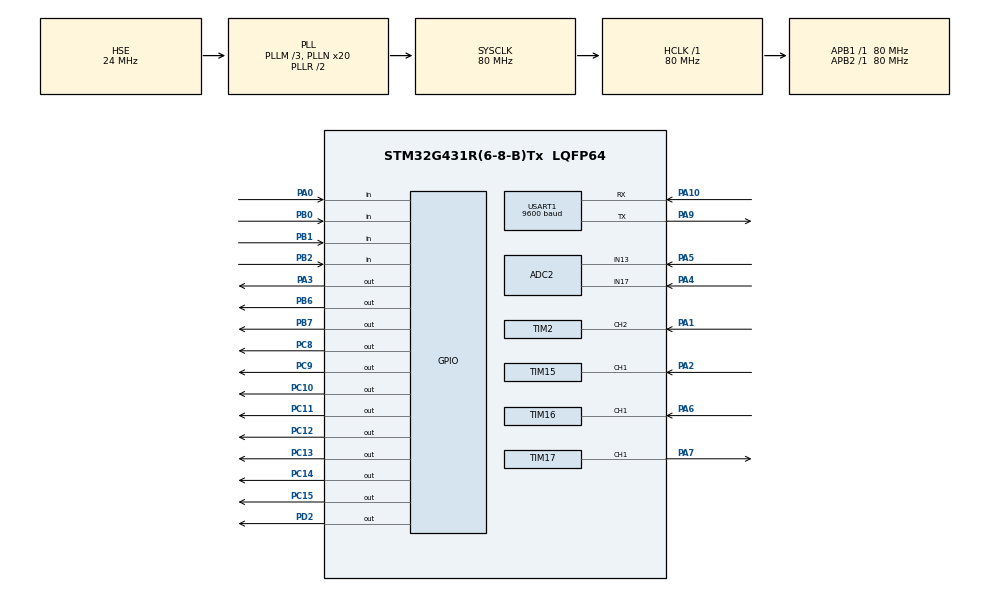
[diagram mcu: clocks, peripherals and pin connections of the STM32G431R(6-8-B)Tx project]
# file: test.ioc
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ADC2.Channel-0\#ChannelRegularConversion=ADC_CHANNEL_13
ADC2.Channel-3\#ChannelRegularConversion=ADC_CHANNEL_17
ADC2.NbrOfConversion=2
ADC2.NbrOfConversionFlag=1
ADC2.OffsetNumber-0\#ChannelRegularConversion=ADC_OFFSET_NONE
ADC2.OffsetNumber-3\#ChannelRegularConversion=ADC_OFFSET_NONE
ADC2.Rank-0\#ChannelRegularConversion=1
ADC2.Rank-3\#ChannelRegularConversion=2
ADC2.SamplingTime-0\#ChannelRegularConversion=ADC_SAMPLETIME_640CYCLES_5
ADC2.SamplingTime-3\#ChannelRegularConversion=ADC_SAMPLETIME_640CYCLES_5
Mcu.Family=STM32G4
Mcu.Name=STM32G431R(6-8-B)Tx
Mcu.Package=LQFP64
NVIC.PriorityGroup=NVIC_PRIORITYGROUP_4
NVIC.TIM1_BRK_TIM15_IRQn=true\:0\:0\:false\:false\:true\:true\:true
NVIC.TIM1_TRG_COM_TIM17_IRQn=true\:0\:0\:false\:false\:true\:true\:true
NVIC.TIM1_UP_TIM16_IRQn=true\:0\:0\:false\:false\:true\:true\:true
NVIC.TIM2_IRQn=true\:0\:0\:false\:false\:true\:true\:true
NVIC.TIM3_IRQn=true\:0\:0\:false\:false\:true\:true\:true
NVIC.TIM4_IRQn=true\:0\:0\:false\:false\:true\:true\:true
NVIC.USART1_IRQn=true\:0\:0\:false\:false\:true\:true\:true
PA0.GPIO_PuPd=GPIO_PULLUP
PA0.Signal=GPIO_Input
PA1.Signal=S_TIM2_CH2
PA10.Mode=Asynchronous
PA10.Signal=USART1_RX
PA13.Mode=Serial_Wire
PA13.Signal=SYS_JTMS-SWDIO
PA14.Mode=Serial_Wire
PA14.Signal=SYS_JTCK-SWCLK
PA2.Signal=S_TIM15_CH1
PA3.Signal=GPIO_Output
PA4.Mode=IN17-Single-Ended
PA4.Signal=ADC2_IN17
PA5.Mode=IN13-Single-Ended
PA5.Signal=ADC2_IN13
PA6.Signal=S_TIM16_CH1
PA7.Signal=S_TIM17_CH1
PA9.Mode=Asynchronous
PA9.Signal=USART1_TX
PB0.GPIO_PuPd=GPIO_PULLUP
PB0.Signal=GPIO_Input
PB1.GPIO_PuPd=GPIO_PULLUP
PB1.Signal=GPIO_Input
PB2.GPIO_PuPd=GPIO_PULLUP
PB2.Signal=GPIO_Input
PB6.Signal=GPIO_Output
PB7.GPIO_Speed=GPIO_SPEED_FREQ_HIGH
PB7.Signal=GPIO_Output
PC10.PinState=GPIO_PIN_SET
PC10.Signal=GPIO_Output
PC11.PinState=GPIO_PIN_SET
PC11.Signal=GPIO_Output
PC12.PinState=GPIO_PIN_SET
PC12.Signal=GPIO_Output
PC13.PinState=GPIO_PIN_SET
PC13.Signal=GPIO_Output
PC14-OSC32_IN.PinState=GPIO_PIN_SET
PC14-OSC32_IN.Signal=GPIO_Output
PC15-OSC32_OUT.PinState=GPIO_PIN_SET
PC15-OSC32_OUT.Signal=GPIO_Output
PC8.PinState=GPIO_PIN_SET
PC8.Signal=GPIO_Output
PC9.PinState=GPIO_PIN_SET
PC9.Signal=GPIO_Output
PD2.Signal=GPIO_Output
PF0-OSC_IN.Mode=HSE-External-Oscillator
PF0-OSC_IN.Signal=RCC_OSC_IN
PF1-OSC_OUT.Mode=HSE-External-Oscillator
PF1-OSC_OUT.Signal=RCC_OSC_OUT
ProjectManager.HeapSize=0x200
ProjectManager.StackSize=0x400
ProjectManager.TargetToolchain=MDK-ARM V5.32
RCC.ADC12Freq_Value=80000000
RCC.AHBFreq_Value=80000000
RCC.APB1Freq_Value=80000000
RCC.APB1TimFreq_Value=80000000
RCC.APB2Freq_Value=80000000
RCC.APB2TimFreq_Value=80000000
RCC.CortexFreq_Value=80000000
RCC.EXTERNAL_CLOCK_VALUE=12288000
RCC.HCLKFreq_Value=80000000
RCC.HSE_VALUE=24000000
RCC.HSI48_VALUE=48000000
RCC.HSI_VALUE=16000000
RCC.LSE_VALUE=32768
RCC.PLLM=RCC_PLLM_DIV3
RCC.PLLN=20
RCC.PLLSourceVirtual=RCC_PLLSOURCE_HSE
RCC.RTCClockSelection=RCC_RTCCLKSOURCE_HSE_DIV32
RCC.SYSCLKFreq_VALUE=80000000
RCC.SYSCLKSource=RCC_SYSCLKSOURCE_PLLCLK
RCC.USBFreq_Value=80000000
RCC.VCOOutputFreq_Value=160000000
RTC.AsynchPrediv=125
RTC.Hours=23
RTC.Minutes=59
RTC.Month=RTC_MONTH_MARCH
RTC.Seconds=55
RTC.SynchPrediv=6000
RTC.WeekDay=RTC_WEEKDAY_FRIDAY
RTC.Year=24
SH.S_TIM15_CH1.0=TIM15_CH1,Input_Capture1_from_TI1
SH.S_TIM16_CH1.0=TIM16_CH1,Input_Capture1_from_TI1
SH.S_TIM17_CH1.0=TIM17_CH1,PWM Generation1 CH1
SH.S_TIM2_CH2.0=TIM2_CH2,Input_Capture2_from_TI2
TIM15.Channel-Input_Capture1_from_TI1=TIM_CHANNEL_1
TIM15.Prescaler=80-1
TIM16.Channel=TIM_CHANNEL_1
TIM16.PeriodNoDither=65535
TIM16.Prescaler=80-1
TIM17.Channel=TIM_CHANNEL_1
TIM17.PeriodNoDither=100
TIM17.Prescaler=800-1
TIM17.PulseNoDither_1=50
TIM2.Channel-Input_Capture2_from_TI2=TIM_CHANNEL_2
TIM2.CounterMode=TIM_COUNTERMODE_UP
TIM2.PeriodNoDither=65535
TIM2.Prescaler=80-1
TIM3.Prescaler=80-1
TIM4.PeriodNoDither=10000-1
TIM4.Prescaler=80-1
USART1.BaudRate=9600
USART1.VirtualMode-Asynchronous=VM_ASYNC
VP_RTC_VS_RTC_Activate.Mode=RTC_Enabled
VP_RTC_VS_RTC_Calendar.Mode=RTC_Calendar
VP_SYS_VS_DBSignals.Mode=DisableDeadBatterySignals
VP_TIM15_VS_ClockSourceINT.Mode=Internal
VP_TIM16_VS_ClockSourceINT.Mode=Enable_Timer
VP_TIM17_VS_ClockSourceINT.Mode=Enable_Timer
VP_TIM2_VS_ClockSourceINT.Mode=Internal
VP_TIM3_VS_ClockSourceINT.Mode=Internal
VP_TIM4_VS_ClockSourceINT.Mode=Internal
board=custom

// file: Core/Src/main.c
/* USER CODE BEGIN Header */
/**
 ******************************************************************************
 * @file           : main.c
 * @brief          : Main program body
 ******************************************************************************
 * @attention
 *
 * Copyright (c) 2024 STMicroelectronics.
 * All rights reserved.
 *
 * This software is licensed under terms that can be found in the LICENSE file
 * in the root directory of this software component.
 * If no LICENSE file comes with this software, it is provided AS-IS.
 *
 ******************************************************************************
 */
/* USER CODE END Header */
#include "main.h"
#include "adc.h"
#include "rtc.h"
#include "tim.h"
#include "usart.h"
#include "gpio.h"

/* USER CODE BEGIN Includes */
#include "LED.h"
#include "lcd.h"
#include "stdio.h"
#include "string.h"
#include "Key.h"
#include "interrupt.h"
#include "badc.h"
#include "i2c - hal.h"
#include "PWM.h"
#include "seg_LED.h"
#include "adc_key.h"
#include "ds18b20.h"
#include "dht11.h"
/* USER CODE END Includes */

/* USER CODE BEGIN PTD */

/*执行速度控制变量*/
__IO uint32_t uwTick_LED_Speed_Ctrl;
__IO uint32_t uwTick_KEY_Speed_Ctrl;
__IO uint32_t uwTick_LCD_Speed_Ctrl;
__IO uint32_t uwTick_RTC_Speed_Ctrl;
__IO uint32_t uwTick_Time_Count;

/* USER CODE END PTD */

/* USER CODE BEGIN PD */
/*全局变量区*/
uint8_t ucLED;

uint8_t LCD_String_Disp[21]; // 显示屏显示数据存储数组
uint8_t LCD_Disp_Change = 0; // 显示屏切换界面变量
uint8_t LCD_Line_Change = 0; // 显示屏选择行 1-第一行 2-第二行 3-第三行 默认为0不选择 无高亮文本

uint8_t EEPROM_Save[4] = {1, 1}; // EEPROM芯片中存取的数据
uint8_t EEPROM_Disp[4] = {1, 1}; // EEPROM数据显示数组

ADC2_ChannelValues adcValues; // ADC多通道扫描数值结构体

float PA4_AD_Value, PA5_AD_Value;

uint8_t X_value = 1, Y_value = 1;

uint8_t Mode_flag = 0; // 0-倍频模式  1-分频模式

uint8_t Record_Channel_flag = 0; // 0-PA4 1-PA5

uint8_t LCD_Disp_Mode;

typedef struct
{
  uint8_t Record_num; // 记录次数
  float AD_value_max; // 电压最大值
  float AD_value_min; // 电压最小值
  float AD_value_avg; // 电压平均值
  float AD_value_sum; // 记录电压值总和
} Record_Value;

uint8_t first_flag = 0;

Record_Value PA4, PA5;

// 用于存储时间和日期的结构体
RTC_TimeTypeDef RTC_Time = {0};
RTC_DateTypeDef RTC_Date = {0};
char dateTimeBuffer[50]; // 存储日期时间字符串

/*拓展变量区*/
extern uint8_t single_key_flag[4]; // 按键单击
extern uint8_t double_key_flag[4]; // 按键双击
extern uint8_t long_key_flag[4];   // 按键长按
// extern uint16_t frq1, frq2;        // 输入捕获测量的频率
// extern float duty1, duty2;         // 占空比
extern uint32_t RP[4];

extern char rxdata[30]; // 串口接收数组
extern uint8_t rxdat;
extern unsigned char rx_pointer;

/* USER CODE END PD */

/* USER CODE BEGIN PM */

/*子函数声明区*/

void LCD_Proc(void);
void KEY_Proc(void);
void LED_Proc(void);
void RTC_Proc(void);
void ADC_Proc(void);
void USART_Proc(void);

/* USER CODE END PM */

void SystemClock_Config(void);

int main(void)
{

  /* MCU Configuration--------------------------------------------------------*/

  /* Reset of all peripherals, Initializes the Flash interface and the Systick. */
  HAL_Init();

  /* Configure the system clock */
  SystemClock_Config();

  /* Initialize all configured peripherals */
  MX_GPIO_Init();
  MX_TIM2_Init();
  MX_TIM16_Init();
  MX_TIM17_Init();
  MX_TIM3_Init();
  MX_TIM4_Init();
  MX_ADC2_Init();
  MX_USART1_UART_Init();
  MX_RTC_Init();
  MX_TIM15_Init();
  /* USER CODE BEGIN 2 */

  /*LED灯初始化*/
  LED_Init();

  /*LCD显示屏初始化*/
  LCD_Init();
  LCD_Clear(Black);
  LCD_SetBackColor(Black);
  LCD_SetTextColor(White);

  /*定时器4基本中断开启,按键中断定时器 时间到就进中断检测按键是否按下*/
  HAL_TIM_Base_Start_IT(&htim4);

  // /*定时器16通道1 PWM生成,PA6 引脚PWM生成定时器*/
  // HAL_TIM_PWM_Start(&htim16, TIM_CHANNEL_1);

  /*定时器17通道1 PWM生成,PA7 引脚PWM生成定时器*/
  HAL_TIM_PWM_Start(&htim17, TIM_CHANNEL_1);

  /*定时器16通道1 输入捕获中断开启,PA6引脚*/
  // HAL_TIM_IC_Start_IT(&htim16, TIM_CHANNEL_1);

  /*定时器17通道1 输入捕获中断开启,PA7引脚*/
  // HAL_TIM_IC_Start_IT(&htim17, TIM_CHANNEL_1);

  /*定时器15通道1 输入捕获中断开启,PA2引脚*/
  // HAL_TIM_IC_Start_IT(&htim15, TIM_CHANNEL_1);

  // __HAL_TIM_SET_COMPARE(&htim16, TIM_CHANNEL_1, PA6_duty);
  // __HAL_TIM_SET_COMPARE(&htim17, TIM_CHANNEL_1, PA7_duty);

  /*定时器2通道1 输入捕获中断开启,PA15引脚*/
  HAL_TIM_IC_Start_IT(&htim2, TIM_CHANNEL_1);
  /*定时器2通道2 输入捕获中断开启,PA15引脚*/
  HAL_TIM_IC_Start_IT(&htim2, TIM_CHANNEL_2);

  /*定时器3通道1 输入捕获中断开启,PB4引脚*/
  // HAL_TIM_IC_Start_IT(&htim3, TIM_CHANNEL_1);
  /*定时器3通道2 输入捕获中断开启,PB4引脚*/
  // HAL_TIM_IC_Start_IT(&htim3, TIM_CHANNEL_2);

  // HAL_ADCEx_Calibration_Start(&hadc1, ADC_SINGLE_ENDED); // 校准ADC1，PB12引脚
  HAL_ADCEx_Calibration_Start(&hadc2, ADC_SINGLE_ENDED); // 校准ADC2，PB15引脚

  /********************************串口接收中断开启***********************************************************/
  HAL_UART_Receive_IT(&huart1, &rxdat, 1);

  /********************************EEPROM存储读取***********************************************************/
  I2C_24c02_Read((uint8_t *)&EEPROM_Save[3], 0x37, 1); // 读取一次判断是否第一次上电

  if (EEPROM_Save[3] != 2) // 初次上电
  {
    EEPROM_Save[3] = 2; // 将该位的值改为2写入eeprom中 用于判断非第一次上电 确保再次上电读取eeprom中设置的阈值 以免第一次直接赋值0
    I2C_24c02_Write((uint8_t *)&EEPROM_Save[3], 0x37, 1);
    HAL_Delay(10);
    I2C_24c02_Write((uint8_t *)EEPROM_Save, 0x00, 2); // 将阈值写入EEPROM中
  }
  else // 再次上电读取eeprom中设置的阈值 更新显示的阈
  {
    I2C_24c02_Read(EEPROM_Save, 0x00, 2); // 读取EEPROM中的值
    HAL_Delay(10);
    Y_value = EEPROM_Save[0]; // 电压参数
    X_value = EEPROM_Save[1]; // 频率参数
  }
  /********************************EEPROM存储读取***********************************************************/

  PWM_Set_Frequency(&htim17, TIM_CHANNEL_1, RP[2] * X_value);

  /* USER CODE END 2 */

  /* Infinite loop */
  while (1)
  {

    /* USER CODE BEGIN 3 */
    /*代码写在该行下面 否则会被初始化*/

    LCD_Proc();
    KEY_Proc();
    LED_Proc();
    RTC_Proc();
    ADC_Proc();

    if (rx_pointer != 0)
    {
      int temp = rx_pointer;
      HAL_Delay(1);
      if (temp == rx_pointer)
        USART_Proc(); // 完成接收
    }
  }
  /* USER CODE END 3 */
}

void SystemClock_Config(void)
{
  RCC_OscInitTypeDef RCC_OscInitStruct = {0};
  RCC_ClkInitTypeDef RCC_ClkInitStruct = {0};

  /** Configure the main internal regulator output voltage
   */
  HAL_PWREx_ControlVoltageScaling(PWR_REGULATOR_VOLTAGE_SCALE1);
  /** Initializes the RCC Oscillators according to the specified parameters
   * in the RCC_OscInitTypeDef structure.
   */
  RCC_OscInitStruct.OscillatorType = RCC_OSCILLATORTYPE_HSE;
  RCC_OscInitStruct.HSEState = RCC_HSE_ON;
  RCC_OscInitStruct.PLL.PLLState = RCC_PLL_ON;
  RCC_OscInitStruct.PLL.PLLSource = RCC_PLLSOURCE_HSE;
  RCC_OscInitStruct.PLL.PLLM = RCC_PLLM_DIV3;
  RCC_OscInitStruct.PLL.PLLN = 20;
  RCC_OscInitStruct.PLL.PLLP = RCC_PLLP_DIV2;
  RCC_OscInitStruct.PLL.PLLQ = RCC_PLLQ_DIV2;
  RCC_OscInitStruct.PLL.PLLR = RCC_PLLR_DIV2;
  if (HAL_RCC_OscConfig(&RCC_OscInitStruct) != HAL_OK)
  {
    Error_Handler();
  }
  /** Initializes the CPU, AHB and APB buses clocks
   */
  RCC_ClkInitStruct.ClockType = RCC_CLOCKTYPE_HCLK | RCC_CLOCKTYPE_SYSCLK | RCC_CLOCKTYPE_PCLK1 | RCC_CLOCKTYPE_PCLK2;
  RCC_ClkInitStruct.SYSCLKSource = RCC_SYSCLKSOURCE_PLLCLK;
  RCC_ClkInitStruct.AHBCLKDivider = RCC_SYSCLK_DIV1;
  RCC_ClkInitStruct.APB1CLKDivider = RCC_HCLK_DIV1;
  RCC_ClkInitStruct.APB2CLKDivider = RCC_HCLK_DIV1;

  if (HAL_RCC_ClockConfig(&RCC_ClkInitStruct, FLASH_LATENCY_2) != HAL_OK)
  {
    Error_Handler();
  }
}

/* USER CODE BEGIN 4 */

/*****************************************LED灯控制函数***************************************************/
void LED_Proc(void)
{
  if ((uwTick - uwTick_LED_Speed_Ctrl) < 100)
    return;
  uwTick_LED_Speed_Ctrl = uwTick; // 200ms执行一次

  // ucLED ^= 0x01;  //异或运算 相同为0，不同为1

  if (!Mode_flag)
    ucLED |= 0x01;
  else
    ucLED &= 0x0E;

  if (Mode_flag)
    ucLED |= 0x02;
  else
    ucLED &= 0x0D;

  if (PA4_AD_Value > PA5_AD_Value * Y_value)
    ucLED ^= 0x04;
  else
    ucLED &= 0x0B;

  LED_Disp(ucLED);
}

/*****************************************显示屏控制函数***************************************************/
void LCD_Proc(void)
{
  if ((uwTick - uwTick_LCD_Speed_Ctrl) < 100)
    return;
  uwTick_LCD_Speed_Ctrl = uwTick;

  if (Mode_flag == 0) // 倍频
  {
    PWM_Set_Frequency(&htim17, TIM_CHANNEL_1, RP[2] * X_value);
    printf("%d\r\n", RP[2]);
  }
  else
  {
    PWM_Set_Frequency(&htim17, TIM_CHANNEL_1, RP[2] / X_value);
  }

  if (LCD_Disp_Change == 0) // 数据界面
  {
    LCD_SetTextColor(White); // 初始文本颜色 防止受上一个对文本颜色的改变影响

    memset(LCD_String_Disp, 0, sizeof(LCD_String_Disp));
    sprintf((char *)LCD_String_Disp, "DATA      ");
    LCD_DisplayStringAtLineColumn(Line2, Col9, LCD_String_Disp);

    memset(LCD_String_Disp, 0, sizeof(LCD_String_Disp));
    sprintf((char *)LCD_String_Disp, "PA4=%.2f  ", PA4_AD_Value);
    LCD_DisplayStringAtLineColumn(Line4, Col6, LCD_String_Disp);

    memset(LCD_String_Disp, 0, sizeof(LCD_String_Disp));
    sprintf((char *)LCD_String_Disp, "PA5=%.2f  ", PA5_AD_Value);
    LCD_DisplayStringAtLineColumn(Line5, Col6, LCD_String_Disp);

    memset(LCD_String_Disp, 0, sizeof(LCD_String_Disp));
    sprintf((char *)LCD_String_Disp, "PA1=%d    ", RP[2]);
    LCD_DisplayStringAtLineColumn(Line6, Col6, LCD_String_Disp);
  }
  else if (LCD_Disp_Change == 1) // 参数界面
  {
    LCD_SetTextColor(White); // 初始文本颜色 防止受上一个对文本颜色的改变影响

    memset(LCD_String_Disp, 0, sizeof(LCD_String_Disp));
    sprintf((char *)LCD_String_Disp, "PARA      ");
    LCD_DisplayStringAtLineColumn(Line2, Col9, LCD_String_Disp);

    memset(LCD_String_Disp, 0, sizeof(LCD_String_Disp));
    sprintf((char *)LCD_String_Disp, "X=%d  ", X_value);
    LCD_DisplayStringAtLineColumn(Line4, Col6, LCD_String_Disp);

    memset(LCD_String_Disp, 0, sizeof(LCD_String_Disp));
    sprintf((char *)LCD_String_Disp, "Y=%d  ", Y_value);
    LCD_DisplayStringAtLineColumn(Line5, Col6, LCD_String_Disp);
  }
  else // 记录界面
  {
    LCD_SetTextColor(White); // 初始文本颜色 防止受上一个对文本颜色的改变影响

    memset(LCD_String_Disp, 0, sizeof(LCD_String_Disp));
    sprintf((char *)LCD_String_Disp, "REC-PA%c  ", Record_Channel_flag ? '5' : '4');
    LCD_DisplayStringAtLineColumn(Line2, Col9, LCD_String_Disp);

    if (Record_Channel_flag == 0) // PA4 记录
    {
      memset(LCD_String_Disp, 0, sizeof(LCD_String_Disp));
      sprintf((char *)LCD_String_Disp, "N=%d    ", PA4.Record_num);
      LCD_DisplayStringAtLineColumn(Line4, Col6, LCD_String_Disp);

      memset(LCD_String_Disp, 0, sizeof(LCD_String_Disp));
      sprintf((char *)LCD_String_Disp, "A=%.2f  ", PA4.AD_value_max);
      LCD_DisplayStringAtLineColumn(Line5, Col6, LCD_String_Disp);

      memset(LCD_String_Disp, 0, sizeof(LCD_String_Disp));
      sprintf((char *)LCD_String_Disp, "T=%.2f  ", PA4.AD_value_min);
      LCD_DisplayStringAtLineColumn(Line6, Col6, LCD_String_Disp);

      memset(LCD_String_Disp, 0, sizeof(LCD_String_Disp));
      sprintf((char *)LCD_String_Disp, "H=%.2f  ", PA4.AD_value_avg);
      LCD_DisplayStringAtLineColumn(Line7, Col6, LCD_String_Disp);
    }
    else
    {
      memset(LCD_String_Disp, 0, sizeof(LCD_String_Disp));
      sprintf((char *)LCD_String_Disp, "N=%d    ", PA5.Record_num);
      LCD_DisplayStringAtLineColumn(Line4, Col6, LCD_String_Disp);

      memset(LCD_String_Disp, 0, sizeof(LCD_String_Disp));
      sprintf((char *)LCD_String_Disp, "A=%.2f  ", PA5.AD_value_max);
      LCD_DisplayStringAtLineColumn(Line5, Col6, LCD_String_Disp);

      memset(LCD_String_Disp, 0, sizeof(LCD_String_Disp));
      sprintf((char *)LCD_String_Disp, "T=%.2f  ", PA5.AD_value_min);
      LCD_DisplayStringAtLineColumn(Line6, Col6, LCD_String_Disp);

      memset(LCD_String_Disp, 0, sizeof(LCD_String_Disp));
      sprintf((char *)LCD_String_Disp, "H=%.2f  ", PA5.AD_value_avg);
      LCD_DisplayStringAtLineColumn(Line7, Col6, LCD_String_Disp);
    }
  }
}

/*****************************************按键控制函数***************************************************/

void KEY_Proc(void)
{
  if ((uwTick - uwTick_KEY_Speed_Ctrl) < 50)
    return;
  uwTick_KEY_Speed_Ctrl = uwTick; // 50ms执行一次

  if (single_key_flag[0] == 1) // 按键1单击刷新显示屏
  {
    LCD_Disp_Change += 1; // 0-数据界面 1-参数界面 2-记录界面
    if (LCD_Disp_Change > 2)
    {
      LCD_Disp_Change = 0;
    }

    if (LCD_Disp_Change == 0) // 返回主界面时保存设置的值
    {
    }
    LCD_Clear(Black);
    single_key_flag[0] = 0;
  }

  if (single_key_flag[1] == 1) // 按键2单击
  {
    if (LCD_Disp_Change == 1) // 参数界面
    {
      // 调整X的值 1-4循环 数值存入EEPROM位置1
      X_value++;
      if (X_value > 4)
        X_value = 1;
      EEPROM_Save[1] = X_value;
      I2C_24c02_Write((uint8_t *)EEPROM_Save, 0x00, 2); // 将频率参数写入EEPROM中
      HAL_Delay(10);
    }
    single_key_flag[1] = 0;
  }

  if (single_key_flag[2] == 1) // 按键3单击
  {
    if (LCD_Disp_Change == 1) // 参数界面
    {
      // 调整Y的值 1-4循环 存入EEPROM位置0
      Y_value++;
      if (Y_value > 4)
        Y_value = 1;
      EEPROM_Save[0] = Y_value;
      I2C_24c02_Write((uint8_t *)EEPROM_Save, 0x00, 2); // 将电压参数写入EEPROM中
      HAL_Delay(10);
    }
    single_key_flag[2] = 0;
  }

  if (single_key_flag[3] == 1) // 按键4单击
  {
    if (LCD_Disp_Change == 0) // 在数据界面
    {
      // 启动一次电压测量功能，LCD 屏幕显示的电压数据更新一次。
      PA4_AD_Value = Return_3_3(adcValues.AdcChannel17Value);
      PA5_AD_Value = Return_3_3(adcValues.AdcChannel13Value);

      PA4.Record_num++; // 记录次数
      PA5.Record_num++;
      if (first_flag == 0)
      {
        first_flag = 1;
        PA4.AD_value_min = 999;
        PA5.AD_value_min = 999;
      }

      if (PA4_AD_Value > PA4.AD_value_max) // PA4采集最大值
        PA4.AD_value_max = PA4_AD_Value;

      if (PA5_AD_Value > PA5.AD_value_max) // PA5采集最大值
        PA5.AD_value_max = PA5_AD_Value;

      if (PA4_AD_Value < PA4.AD_value_min) // PA4采集最小值
        PA4.AD_value_min = PA4_AD_Value;

      if (PA5_AD_Value < PA5.AD_value_min) // PA5采集最小值
        PA5.AD_value_min = PA5_AD_Value;

      PA4.AD_value_sum += PA4_AD_Value; // PA4采集总和
      PA5.AD_value_sum += PA5_AD_Value; // PA5采集总和

      PA4.AD_value_avg = PA4.AD_value_sum / (float)PA4.Record_num; // PA4采集平均值
      PA5.AD_value_avg = PA5.AD_value_sum / (float)PA5.Record_num; // PA5采集平均值
    }

    if (LCD_Disp_Change == 1) // 参数界面
    {
      // 切换脉冲输出模式为倍频模式或分频模式
      Mode_flag ^= 0x01; // 0-倍频  1-分频
    }

    if (LCD_Disp_Change == 2) // 记录界面
    {
      // 切换不同测量通道的记录结果
      Record_Channel_flag ^= 0x01; // 0-PA4 1-PA5
    }
    single_key_flag[3] = 0;
  }

  if (long_key_flag[3] == 1) // 按键4长按
  {
    if (LCD_Disp_Change == 2) // 记录界面
    {
      // 长按 B4 按键超过 1 秒后松开，可以清零当前通道的全部数据记录结果，包括记录次数、最大值、最小值和平均值。

      if (Record_Channel_flag == 0) // PA4 记录数据清零
      {
        PA4.Record_num = 0;
        PA4.AD_value_max = 0;
        PA4.AD_value_min = 0;
        PA4.AD_value_avg = 0;
        PA4.AD_value_sum = 0;
      }
      else // PA5 记录数据 清零
      {
        PA5.Record_num = 0;
        PA5.AD_value_max = 0;
        PA5.AD_value_min = 0;
        PA5.AD_value_avg = 0;
        PA5.AD_value_sum = 0;
      }
    }
    long_key_flag[3] = 0;
  }
}

/*****************************************ADC处理函数***************************************************/

void ADC_Proc(void)
{

  adcValues = Read_ADC2_Channels();

  // ADC_Key = Scan_Btn(adcValues.AdcChannel13Value); // 中位值滤波获取ADC_Key的键值
}

/*****************************************串口接收函数***************************************************/

void USART_Proc(void)
{

  if (rx_pointer > 0)
  {
    if (rx_pointer == 1)
    {
      if (rxdata[0] == 'X')
      {
        printf("X:%d\r\n", X_value);
      }
      else if (rxdata[0] == 'Y')
      {
        printf("Y:%d\r\n", Y_value);
      }
      else if (rxdata[0] == '#')
      {
        LCD_Disp_Mode ^= 0x01;
        setDisplayMod(LCD_Disp_Mode);
        LCD_Clear(Black);
      }
    }

    if (rx_pointer == 3)
    {
      if (rxdata[0] == 'P' && rxdata[1] == 'A' && rxdata[2] == '1')
      {
        printf("PA1:%d\r\n", RP[2]);
      }
      if (rxdata[0] == 'P' && rxdata[1] == 'A' && rxdata[2] == '4')
      {
        printf("PA4:%.2f\r\n", Return_3_3(adcValues.AdcChannel17Value));
      }
      if (rxdata[0] == 'P' && rxdata[1] == 'A' && rxdata[2] == '5')
      {
        printf("PA5:%.2f\r\n", Return_3_3(adcValues.AdcChannel13Value));
      }
    }

    rx_pointer = 0;
    memset(rxdata, 0, 30);
  }
}

/*RTC时钟配置*/

void RTC_Proc(void)
{
  if ((uwTick - uwTick_RTC_Speed_Ctrl) < 1000)
    return;
  uwTick_RTC_Speed_Ctrl = uwTick; // 1s执行一次

  // 获取当前时间和日期
  HAL_RTC_GetTime(&hrtc, &RTC_Time, RTC_FORMAT_BIN);
  HAL_RTC_GetDate(&hrtc, &RTC_Date, RTC_FORMAT_BIN);

  // printf("Date: %02d-%02d-%02d Time: %02d:%02d:%02d\r\n", RTC_Date.Year, RTC_Date.Month, RTC_Date.Date,
  //        RTC_Time.Hours, RTC_Time.Minutes, RTC_Time.Seconds);
}

/*串口重定向*/
int fputc(int ch, FILE *f)
{
  char c = ch;
  HAL_UART_Transmit(&huart1, (uint8_t *)&c, 1, 50);
  return ch;
}

/* USER CODE END 4 */

void Error_Handler(void)
{
  __disable_irq();
  while (1)
  {
  }
}
